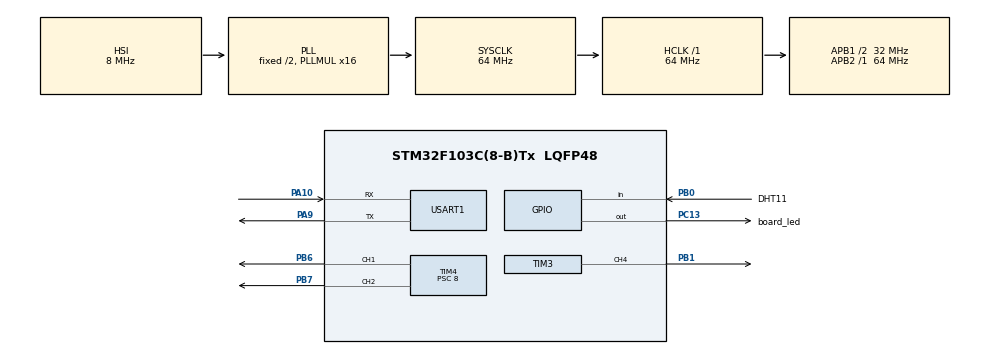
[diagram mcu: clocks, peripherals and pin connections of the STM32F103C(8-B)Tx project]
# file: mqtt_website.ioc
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Dma.Request0=TIM3_CH4/UP
Dma.TIM3_CH4/UP.0.Direction=DMA_MEMORY_TO_PERIPH
Dma.TIM3_CH4/UP.0.Instance=DMA1_Channel3
Dma.TIM3_CH4/UP.0.MemDataAlignment=DMA_MDATAALIGN_HALFWORD
Dma.TIM3_CH4/UP.0.MemInc=DMA_MINC_ENABLE
Dma.TIM3_CH4/UP.0.Mode=DMA_CIRCULAR
Dma.TIM3_CH4/UP.0.PeriphDataAlignment=DMA_PDATAALIGN_HALFWORD
Dma.TIM3_CH4/UP.0.PeriphInc=DMA_PINC_DISABLE
Dma.TIM3_CH4/UP.0.Priority=DMA_PRIORITY_LOW
Mcu.Family=STM32F1
Mcu.Name=STM32F103C(8-B)Tx
Mcu.Package=LQFP48
NVIC.DMA1_Channel3_IRQn=true\:0\:0\:false\:false\:true\:false\:true
NVIC.PriorityGroup=NVIC_PRIORITYGROUP_4
NVIC.TIM3_IRQn=true\:0\:0\:false\:false\:true\:true\:true
NVIC.USART1_IRQn=true\:0\:0\:false\:false\:true\:true\:true
PA10.Mode=Asynchronous
PA10.Signal=USART1_RX
PA13.Mode=Serial_Wire
PA13.Signal=SYS_JTMS-SWDIO
PA14.Mode=Serial_Wire
PA14.Signal=SYS_JTCK-SWCLK
PA9.Mode=Asynchronous
PA9.Signal=USART1_TX
PB0.GPIO_Label=DHT11
PB0.Signal=GPIO_Input
PB1.Signal=S_TIM3_CH4
PB6.Signal=S_TIM4_CH1
PB7.Signal=S_TIM4_CH2
PC13-TAMPER-RTC.GPIO_Label=board_led
PC13-TAMPER-RTC.Signal=GPIO_Output
ProjectManager.HeapSize=0x200
ProjectManager.StackSize=0x400
ProjectManager.TargetToolchain=STM32CubeIDE
RCC.AHBFreq_Value=64000000
RCC.APB1CLKDivider=RCC_HCLK_DIV2
RCC.APB1Freq_Value=32000000
RCC.APB1TimFreq_Value=64000000
RCC.APB2Freq_Value=64000000
RCC.APB2TimFreq_Value=64000000
RCC.HCLKFreq_Value=64000000
RCC.PLLMUL=RCC_PLL_MUL16
RCC.SYSCLKFreq_VALUE=64000000
RCC.SYSCLKSource=RCC_SYSCLKSOURCE_PLLCLK
RCC.USBFreq_Value=64000000
SH.S_TIM3_CH4.0=TIM3_CH4,PWM Generation4 CH4
SH.S_TIM4_CH1.0=TIM4_CH1,PWM Generation1 CH1
SH.S_TIM4_CH2.0=TIM4_CH2,PWM Generation2 CH2
TIM3.Channel-PWM\ Generation3\ CH3=TIM_CHANNEL_3
TIM3.Channel-PWM\ Generation4\ CH4=TIM_CHANNEL_4
TIM3.OCFastMode_PWM-PWM\ Generation4\ CH4=TIM_OCFAST_ENABLE
TIM4.AutoReloadPreload=TIM_AUTORELOAD_PRELOAD_ENABLE
TIM4.Channel-PWM\ Generation1\ CH1=TIM_CHANNEL_1
TIM4.Channel-PWM\ Generation2\ CH2=TIM_CHANNEL_2
TIM4.OCFastMode_PWM-PWM\ Generation1\ CH1=TIM_OCFAST_ENABLE
TIM4.Period=20000
TIM4.Prescaler=8
TIM4.Pulse-PWM\ Generation1\ CH1=1000
TIM4.Pulse-PWM\ Generation2\ CH2=1000
USART1.VirtualMode=VM_ASYNC
VP_TIM2_VS_ClockSourceINT.Mode=Internal
VP_TIM3_VS_ClockSourceINT.Mode=Internal
VP_TIM4_VS_ClockSourceINT.Mode=Internal
board=custom

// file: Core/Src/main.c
/* USER CODE BEGIN Header */
/**
  ******************************************************************************
  * @file           : main.c
  * @brief          : Main program body
  ******************************************************************************
  * @attention
  *
  * <h2><center>&copy; Copyright (c) 2020 STMicroelectronics.
  * All rights reserved.</center></h2>
  *
  * This software component is licensed by ST under BSD 3-Clause license,
  * the "License"; You may not use this file except in compliance with the
  * License. You may obtain a copy of the License at:
  *                        opensource.org/licenses/BSD-3-Clause
  *
  ******************************************************************************
  */
/* USER CODE END Header */

#include "main.h"

/* USER CODE BEGIN Includes */
#include <stdio.h>
#include "cuart.h"
#include "ws2812b.h"
#include "dth11.h"
//#include "servo.h"
/* USER CODE END Includes */

TIM_HandleTypeDef htim2;
TIM_HandleTypeDef htim3;
TIM_HandleTypeDef htim4;

DMA_HandleTypeDef hdma_tim3_ch4_up;

UART_HandleTypeDef huart1;

void SystemClock_Config(void);
static void MX_GPIO_Init(void);
static void MX_DMA_Init(void);
static void MX_TIM3_Init(void);
static void MX_USART1_UART_Init(void);
static void MX_TIM4_Init(void);
static void MX_TIM2_Init(void);

/* USER CODE BEGIN 0 */
#define SERVO_ANGLE_0   1000
#define SERVO_PERIOD    (20000 -1)
#define SERVO_TIM_PRESCALER 64
void servo_set_angle(uint16_t angle){

	uint16_t pulse_width = 0;

	printf(" Angle to be set is [%d]\r\n",angle );
	 if ( (angle >  180) || (angle < 0)) {
		 printf("wrong angle value\r\n" );
		 return;
	}
	if( angle > 90){
		pulse_width = (angle * 8.8) + 413;

	}else{
		pulse_width = (angle * 7) + 413;
	}

	htim4.Instance->CCR2 = pulse_width;
}
/* USER CODE END 0 */

int main(void)
{
  /* USER CODE BEGIN 1 */
	setvbuf(stdout,0, _IOLBF, 0);
  /* USER CODE END 1 */

  /* MCU Configuration--------------------------------------------------------*/

  /* Reset of all peripherals, Initializes the Flash interface and the Systick. */
  HAL_Init();

  /* Configure the system clock */
  SystemClock_Config();

  /* Initialize all configured peripherals */
  MX_GPIO_Init();
  MX_DMA_Init();
  MX_TIM3_Init();
  MX_USART1_UART_Init();
  MX_TIM4_Init();
  MX_TIM2_Init();

  /* USER CODE BEGIN 2 */
  uint32_t seconds = HAL_GetTick();
  printf("Program stars!!\r\n" );
  //printf("PWM table size[%d] !!\r\n",sizeof(pwm_value)/2 );

  dbg_setup();
  start_led_sequence();
  dth11_init();
  dbg_register_task(dth11_read,"read",0);
  dbg_register_task((void*)parse_led_color_input, "set", 'p');
  dbg_register_task(stop_led_sequence, "stop",0);
  dbg_register_task(start_led_sequence, "start",0);
  dbg_register_task(servo_set_angle ,"servo",'1');

  servo_set_angle(0);
  uint8_t switch_colors = 0;
  uint8_t led_id[9]= {0};
  uint8_t index = 0;
  for(index = 0;index< 9;index++) {
	  led_id[index] = index;
  }

// htim4.Instance->CCR1 = 1000;
 HAL_TIM_Base_Start(&htim4);
 HAL_TIM_PWM_Start(&htim4, TIM_CHANNEL_2);

  /* USER CODE END 2 */

  /* Infinite loop */
  while (1)
  {

    /* USER CODE BEGIN 3 */

    dbg_command_scan();
    if ( HAL_GetTick() >seconds){
	    seconds = HAL_GetTick() + 600;
	    GPIOC->ODR ^=GPIO_PIN_13;
    }
  }
  /* USER CODE END 3 */
}

void SystemClock_Config(void)
{
  RCC_OscInitTypeDef RCC_OscInitStruct = {0};
  RCC_ClkInitTypeDef RCC_ClkInitStruct = {0};

  /** Initializes the CPU, AHB and APB busses clocks
  */
  RCC_OscInitStruct.OscillatorType = RCC_OSCILLATORTYPE_HSI;
  RCC_OscInitStruct.HSIState = RCC_HSI_ON;
  RCC_OscInitStruct.HSICalibrationValue = RCC_HSICALIBRATION_DEFAULT;
  RCC_OscInitStruct.PLL.PLLState = RCC_PLL_ON;
  RCC_OscInitStruct.PLL.PLLSource = RCC_PLLSOURCE_HSI_DIV2;
  RCC_OscInitStruct.PLL.PLLMUL = RCC_PLL_MUL16;
  if (HAL_RCC_OscConfig(&RCC_OscInitStruct) != HAL_OK)
  {
    Error_Handler();
  }
  /** Initializes the CPU, AHB and APB busses clocks
  */
  RCC_ClkInitStruct.ClockType = RCC_CLOCKTYPE_HCLK|RCC_CLOCKTYPE_SYSCLK
                              |RCC_CLOCKTYPE_PCLK1|RCC_CLOCKTYPE_PCLK2;
  RCC_ClkInitStruct.SYSCLKSource = RCC_SYSCLKSOURCE_PLLCLK;
  RCC_ClkInitStruct.AHBCLKDivider = RCC_SYSCLK_DIV1;
  RCC_ClkInitStruct.APB1CLKDivider = RCC_HCLK_DIV2;
  RCC_ClkInitStruct.APB2CLKDivider = RCC_HCLK_DIV1;

  if (HAL_RCC_ClockConfig(&RCC_ClkInitStruct, FLASH_LATENCY_2) != HAL_OK)
  {
    Error_Handler();
  }
}

static void MX_TIM3_Init(void)
{

  TIM_ClockConfigTypeDef sClockSourceConfig = {0};
  TIM_MasterConfigTypeDef sMasterConfig = {0};
  TIM_OC_InitTypeDef sConfigOC = {0};

  htim3.Instance = TIM3;
  htim3.Init.Prescaler = TIMER_PRESCALER;
  htim3.Init.CounterMode = TIM_COUNTERMODE_UP;
  htim3.Init.Period = TIMER_PERIOD;
  htim3.Init.ClockDivision = TIM_CLOCKDIVISION_DIV1;
  htim3.Init.AutoReloadPreload = TIM_AUTORELOAD_PRELOAD_ENABLE;
  if (HAL_TIM_Base_Init(&htim3) != HAL_OK)
  {
    Error_Handler();
  }
  sClockSourceConfig.ClockSource = TIM_CLOCKSOURCE_INTERNAL;
  if (HAL_TIM_ConfigClockSource(&htim3, &sClockSourceConfig) != HAL_OK)
  {
    Error_Handler();
  }
  if (HAL_TIM_PWM_Init(&htim3) != HAL_OK)
  {
    Error_Handler();
  }
  sMasterConfig.MasterOutputTrigger = TIM_TRGO_RESET;
  sMasterConfig.MasterSlaveMode = TIM_MASTERSLAVEMODE_DISABLE;
  if (HAL_TIMEx_MasterConfigSynchronization(&htim3, &sMasterConfig) != HAL_OK)
  {
    Error_Handler();
  }
  sConfigOC.OCIdleState  = TIM_OCIDLESTATE_SET;
  sConfigOC.OCNIdleState = TIM_OCNIDLESTATE_RESET;
  sConfigOC.OCMode = TIM_OCMODE_PWM1;
  sConfigOC.Pulse = 0;
  sConfigOC.OCPolarity = TIM_OCPOLARITY_HIGH;
  sConfigOC.OCFastMode = TIM_OCFAST_ENABLE;
  if (HAL_TIM_PWM_ConfigChannel(&htim3, &sConfigOC, TIM_CHANNEL_4) != HAL_OK)
  {
    Error_Handler();
  }
  HAL_TIM_MspPostInit(&htim3);

}

static void MX_TIM2_Init(void)
{

  TIM_ClockConfigTypeDef sClockSourceConfig = {0};
  TIM_MasterConfigTypeDef sMasterConfig = {0};

  htim2.Instance = TIM2;
  htim2.Init.Prescaler = 64;
  htim2.Init.CounterMode = TIM_COUNTERMODE_UP;
  htim2.Init.Period = 10000;
  htim2.Init.ClockDivision = TIM_CLOCKDIVISION_DIV1;
  htim2.Init.AutoReloadPreload = TIM_AUTORELOAD_PRELOAD_ENABLE;
  if (HAL_TIM_Base_Init(&htim2) != HAL_OK)
  {
    Error_Handler();
  }
  sClockSourceConfig.ClockSource = TIM_CLOCKSOURCE_INTERNAL;
  if (HAL_TIM_ConfigClockSource(&htim2, &sClockSourceConfig) != HAL_OK)
  {
    Error_Handler();
  }
  sMasterConfig.MasterOutputTrigger = TIM_TRGO_RESET;
  sMasterConfig.MasterSlaveMode = TIM_MASTERSLAVEMODE_DISABLE;
  if (HAL_TIMEx_MasterConfigSynchronization(&htim2, &sMasterConfig) != HAL_OK)
  {
    Error_Handler();
  }

}
static void MX_TIM4_Init(void)
{

  TIM_ClockConfigTypeDef sClockSourceConfig = {0};
  TIM_MasterConfigTypeDef sMasterConfig = {0};
  TIM_OC_InitTypeDef sConfigOC = {0};

  htim4.Instance = TIM4;
  htim4.Init.Prescaler = SERVO_TIM_PRESCALER;
  htim4.Init.CounterMode = TIM_COUNTERMODE_UP;
  htim4.Init.Period = SERVO_PERIOD;
  htim4.Init.ClockDivision = TIM_CLOCKDIVISION_DIV1;
  htim4.Init.AutoReloadPreload = TIM_AUTORELOAD_PRELOAD_ENABLE;
  if (HAL_TIM_Base_Init(&htim4) != HAL_OK)
  {
    Error_Handler();
  }
  sClockSourceConfig.ClockSource = TIM_CLOCKSOURCE_INTERNAL;
  if (HAL_TIM_ConfigClockSource(&htim4, &sClockSourceConfig) != HAL_OK)
  {
    Error_Handler();
  }
  if (HAL_TIM_PWM_Init(&htim4) != HAL_OK)
  {
    Error_Handler();
  }
  sMasterConfig.MasterOutputTrigger = TIM_TRGO_RESET;
  sMasterConfig.MasterSlaveMode = TIM_MASTERSLAVEMODE_DISABLE;
  if (HAL_TIMEx_MasterConfigSynchronization(&htim4, &sMasterConfig) != HAL_OK)
  {
    Error_Handler();
  }
  sConfigOC.OCMode = TIM_OCMODE_PWM1;
  sConfigOC.Pulse = SERVO_ANGLE_0;
  sConfigOC.OCPolarity = TIM_OCPOLARITY_HIGH;
  sConfigOC.OCFastMode = TIM_OCFAST_DISABLE;
  if (HAL_TIM_PWM_ConfigChannel(&htim4, &sConfigOC, TIM_CHANNEL_1) != HAL_OK)
  {
    Error_Handler();
  }

  sConfigOC.OCFastMode = TIM_OCFAST_DISABLE;
	if (HAL_TIM_PWM_ConfigChannel(&htim4, &sConfigOC, TIM_CHANNEL_2) != HAL_OK)
	{
  	Error_Handler();
	}
  HAL_TIM_MspPostInit(&htim4);

}

static void MX_USART1_UART_Init(void)
{

  huart1.Instance = USART1;
  huart1.Init.BaudRate = 115200;
  huart1.Init.WordLength = UART_WORDLENGTH_8B;
  huart1.Init.StopBits = UART_STOPBITS_1;
  huart1.Init.Parity = UART_PARITY_NONE;
  huart1.Init.Mode = UART_MODE_TX_RX;
  huart1.Init.HwFlowCtl = UART_HWCONTROL_NONE;
  huart1.Init.OverSampling = UART_OVERSAMPLING_16;
  if (HAL_UART_Init(&huart1) != HAL_OK)
  {
    Error_Handler();
  }

}

static void MX_DMA_Init(void)
{

  /* DMA controller clock enable */
  __HAL_RCC_DMA1_CLK_ENABLE();

  /* DMA interrupt init */
  /* DMA1_Channel3_IRQn interrupt configuration */
  HAL_NVIC_SetPriority(DMA1_Channel3_IRQn, 0, 0);
  HAL_NVIC_EnableIRQ(DMA1_Channel3_IRQn);

}

static void MX_GPIO_Init(void)
{
  GPIO_InitTypeDef GPIO_InitStruct = {0};

  /* GPIO Ports Clock Enable */
  __HAL_RCC_GPIOC_CLK_ENABLE();
  __HAL_RCC_GPIOB_CLK_ENABLE();
  __HAL_RCC_GPIOA_CLK_ENABLE();

  /*Configure GPIO pin Output Level */
  HAL_GPIO_WritePin(board_led_GPIO_Port, board_led_Pin, GPIO_PIN_RESET);

  /*Configure GPIO pin : board_led_Pin */
  GPIO_InitStruct.Pin = board_led_Pin;
  GPIO_InitStruct.Mode = GPIO_MODE_OUTPUT_PP;
  GPIO_InitStruct.Pull = GPIO_NOPULL;
  GPIO_InitStruct.Speed = GPIO_SPEED_FREQ_LOW;
  HAL_GPIO_Init(board_led_GPIO_Port, &GPIO_InitStruct);

  /*Configure GPIO pin : DHT11_Pin */
  GPIO_InitStruct.Pin = DHT11_Pin;
  GPIO_InitStruct.Mode = GPIO_MODE_OUTPUT_PP;
  GPIO_InitStruct.Pull = GPIO_NOPULL;
    GPIO_InitStruct.Speed = GPIO_SPEED_FREQ_HIGH;
  HAL_GPIO_Init(DHT11_GPIO_Port, &GPIO_InitStruct);

}

void Error_Handler(void)
{
}

/************************ (C) COPYRIGHT STMicroelectronics *****END OF FILE****/
